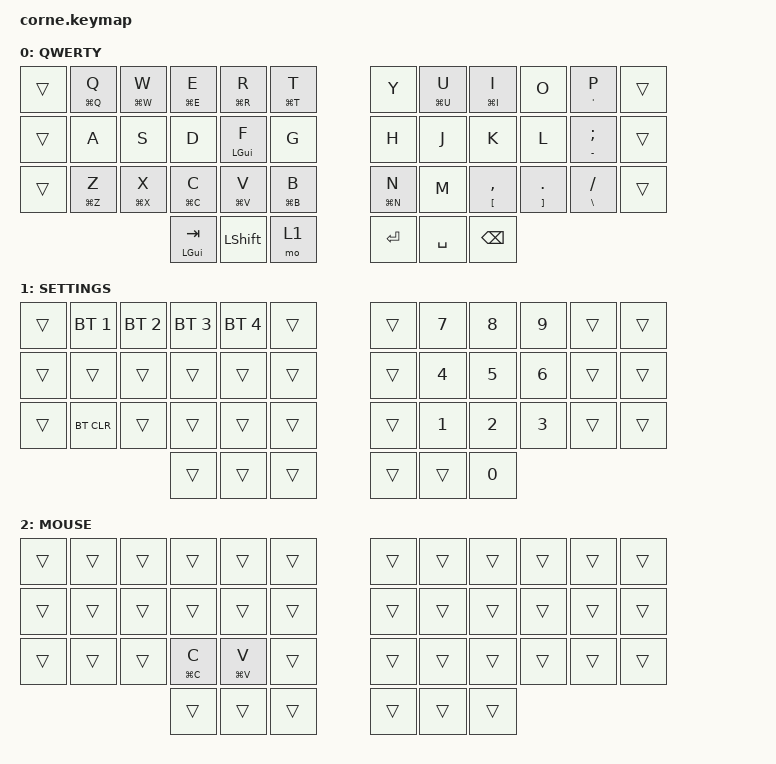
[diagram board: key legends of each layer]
/*
 * Copyright (c) 2020 The ZMK Contributors
 *
 * SPDX-License-Identifier: MIT
 */

#include <behaviors.dtsi>
#include <dt-bindings/zmk/bt.h>
#include <dt-bindings/zmk/keys.h>

&nice_view_spi {
    cs-gpios = <&pro_micro 10 GPIO_ACTIVE_HIGH>;
};

/ {
    combos {
        compatible = "zmk,combos";

        combo_esc {
            timeout-ms = <25>;
            bindings = <&kp ESC>;
            key-positions = <1 2>;
        };

        combo_settings {
            timeout-ms = <25>;
            bindings = <&to 1>;
            key-positions = <38 37 29>;
        };

        combo_left_parenthesis {
            timeout-ms = <25>;
            bindings = <&kp LEFT_PARENTHESIS>;
            key-positions = <7 6>;
        };

        combo_right_parenthesis {
            timeout-ms = <25>;
            bindings = <&kp RIGHT_PARENTHESIS>;
            key-positions = <8 9>;
        };

        combo_volume_up {
            timeout-ms = <25>;
            bindings = <&kp C_VOLUME_UP>;
            key-positions = <27 28>;
        };

        combo_volume_down {
            timeout-ms = <25>;
            bindings = <&kp C_VOLUME_DOWN>;
            key-positions = <25 26>;
        };

        combo_minus {
            timeout-ms = <30>;
            bindings = <&kp MINUS>;
            key-positions = <21 20>;
        };

        combo_plus {
            timeout-ms = <25>;
            bindings = <&kp PLUS>;
            key-positions = <19 18>;
        };

        combo_multiply {
            timeout-ms = <25>;
            bindings = <&kp ASTERISK>;
            key-positions = <32 21>;
        };

        combo_equal {
            timeout-ms = <25>;
            bindings = <&kp EQUAL>;
            key-positions = <22 21>;
        };

        combo_changelang {
            timeout-ms = <35>;
            bindings = <&kp LC(SPACE)>;
            key-positions = <17 18 19 16>;
        };

        combo_up {
            timeout-ms = <30>;
            bindings = <&kp UP>;
            key-positions = <3 15>;
        };

        combo_down {
            timeout-ms = <30>;
            bindings = <&kp DOWN>;
            key-positions = <15 27>;
        };

        combo_left {
            timeout-ms = <30>;
            bindings = <&kp LEFT>;
            key-positions = <15 14>;
        };

        combo_right {
            timeout-ms = <30>;
            bindings = <&kp RIGHT>;
            key-positions = <15 16>;
        };

        combo_to0 {
            timeout-ms = <20>;
            bindings = <&to 0>;
            key-positions = <37 38>;
        };

        combo_screenshot {
            timeout-ms = <35>;
            bindings = <&kp LG(LS(NUMBER_4))>;
            key-positions = <1 25 10 34>;
        };

        combo_doublequote {
            bindings = <&kp DOUBLE_QUOTES>;
            key-positions = <33 32>;
        };

        combo_apostrophe {
            bindings = <&kp SINGLE_QUOTE>;
            key-positions = <31 30>;
        };

        combo_exclamation {
            bindings = <&kp EXCLAMATION>;
            key-positions = <34 33>;
        };

        combo_question {
            bindings = <&kp QUESTION>;
            key-positions = <9 10>;
        };

        combo_zoomin {
            bindings = <&kp C_AC_ZOOM_IN>;
            key-positions = <2 3>;
        };

        combo_zoomout {
            bindings = <&kp C_AC_ZOOM_OUT>;
            key-positions = <4 5>;
        };
    };

    behaviors {
        gqt: global-quick-tap {
            compatible = "zmk,behavior-hold-tap";
            label = "GLOBAL_QUICK_TAP";
            #binding-cells = <2>;
            flavor = "tap-preferred";
            tapping-term-ms = <250>;
            quick-tap-ms = <150>;
            global-quick-tap;
            bindings =
                <&kp>,
                <&kp>;
        };
    };

    macros {
        macro_skmr: macro_skmr {
            compatible = "zmk,behavior-macro";
            label = "MACRO_SKMR";
            #binding-cells = <0>;
            bindings = <&none &kp LS(I) &kp SPACE &kp F &kp E &kp E &kp L &kp SPACE &kp L &kp I &kp K &kp E &kp SPACE &kp W &kp E &kp SPACE &kp H &kp A &kp V &kp E &kp SPACE &kp G &kp O &kp N &kp E &kp SPACE &kp P &kp A &kp S &kp T &kp SPACE &kp S &kp O &kp C &kp I &kp A &kp L &kp SPACE &kp N &kp O &kp R &kp M &kp S &kp SPACE &kp H &kp A &kp H &kp H &kp A &kp A &kp H &kp A &kp H &kp H &kp H>;
        };
    };

    keymap {
        compatible = "zmk,keymap";

        QWERTY {
            // -----------------------------------------------------------------------------------------
            // |  TAB |  Q  |  W  |  E  |  R  |  T  |   |  Y  |  U   |  I  |  O  |  P  | BKSP |
            // | CTRL |  A  |  S  |  D  |  F  |  G  |   |  H  |  J   |  K  |  L  |  ;  |  '   |
            // | SHFT |  Z  |  X  |  C  |  V  |  B  |   |  N  |  M   |  ,  |  .  |  /  | ESC  |
            //                    | GUI | LWR | SPC |   | ENT | RSE  | ALT |

            bindings = <
&trans  &gqt LG(Q) Q  &gqt LG(W) W       &gqt LG(E) E    &gqt LG(R) R  &gqt LG(T) T         &kp Y  &gqt LG(U) U             &gqt LG(I) I                      &kp O       &gqt SQT P  &trans
&trans         &kp A         &kp S              &kp D     &gqt LGUI F         &kp G         &kp H         &kp J                    &kp K                      &kp L  &gqt MINUS SEMI  &trans
&trans  &gqt LG(Z) Z  &gqt LG(X) X       &gqt LG(C) C    &gqt LG(V) V  &gqt LG(B) B  &gqt LG(N) N         &kp M  &gqt LEFT_BRACKET COMMA  &gqt RIGHT_BRACKET PERIOD   &gqt BSLH FSLH  &trans
                                    &gqt LEFT_GUI TAB  &kp LEFT_SHIFT         &mo 1     &kp ENTER     &kp SPACE            &kp BACKSPACE
            >;
        };

        SETTINGS {
            // -----------------------------------------------------------------------------------------
            // |  TAB |  1  |  2  |  3  |  4  |  5  |   |  6  |  7  |  8  |  9  |  0  | BKSP |
            // | BTCLR| BT1 | BT2 | BT3 | BT4 | BT5 |   | LFT | DWN |  UP | RGT |     |      |
            // | SHFT |     |     |     |     |     |   |     |     |     |     |     |      |
            //                    | GUI |     | SPC |   | ENT |     | ALT |

            bindings = <
&trans  &bt BT_SEL 1  &bt BT_SEL 2  &bt BT_SEL 3  &bt BT_SEL 4  &trans  &trans        &kp N7  &kp NUMBER_8  &kp NUMBER_9  &trans  &trans
&trans        &trans        &trans        &trans        &trans  &trans  &trans  &kp NUMBER_4  &kp NUMBER_5  &kp NUMBER_6  &trans  &trans
&trans    &bt BT_CLR        &trans        &trans        &trans  &trans  &trans  &kp NUMBER_1  &kp NUMBER_2  &kp NUMBER_3  &trans  &trans
                                          &trans        &trans  &trans  &trans        &trans        &kp N0
            >;
        };

        MOUSE {
            // -----------------------------------------------------------------------------------------
            // |  TAB |  !  |  @  |  #  |  $  |  %  |   |  ^  |  &  |  *  |  (  |  )  | BKSP |
            // | CTRL |     |     |     |     |     |   |  -  |  =  |  [  |  ]  |  \  |  `   |
            // | SHFT |     |     |     |     |     |   |  _  |  +  |  {  |  }  | "|" |  ~   |
            //                    | GUI |     | SPC |   | ENT |     | ALT |

            bindings = <
&trans  &trans  &trans        &trans        &trans  &trans  &trans  &trans  &trans  &trans  &trans  &trans
&trans  &trans  &trans        &trans        &trans  &trans  &trans  &trans  &trans  &trans  &trans  &trans
&trans  &trans  &trans  &gqt LG(C) C  &gqt LG(V) V  &trans  &trans  &trans  &trans  &trans  &trans  &trans
                              &trans        &trans  &trans  &trans  &trans  &trans
            >;
        };
    };
};
